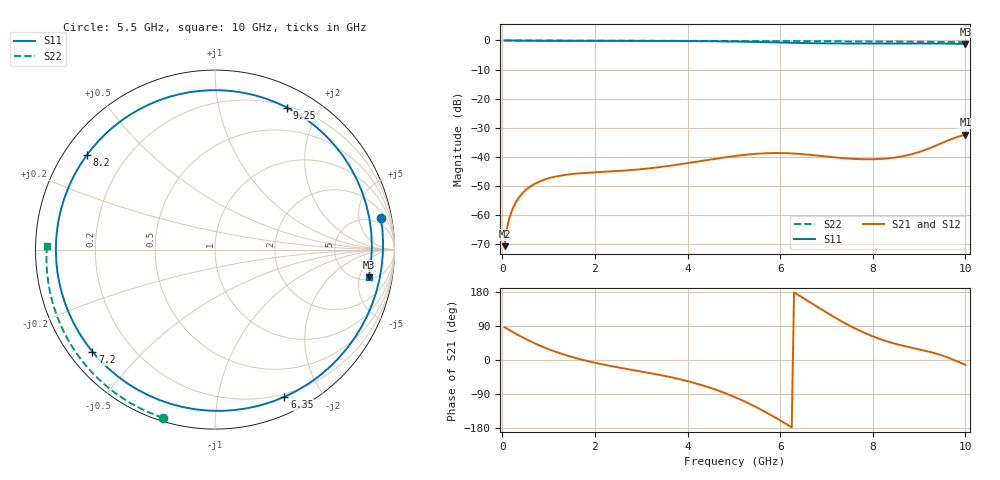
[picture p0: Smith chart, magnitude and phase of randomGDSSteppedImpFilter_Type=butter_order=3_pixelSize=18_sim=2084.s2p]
! freq	dB(S11)	phase(S11)	dB(S12)	phase(S12)
!  dB(S21)	phase(S21)	dB(S22)	phase(S22)
!S-par simulation data
#  GHz  S  DB  R 50
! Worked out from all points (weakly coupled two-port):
!   200 points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, 50 MHz to 10 GHz, reference 50 ohm
!   highest |S21| = -32.33 dB at 10 GHz (marker M1); lowest = -70.6 dB at 50 MHz (marker M2)
!   lowest |S11| = -1.2 dB at 10 GHz (marker M3), VSWR 14.43, Z = 275 - j348 ohm
!   |S11| at or under -10 dB: nowhere
!   |S22| runs from -0.6 to 0.0 dB; largest |S21 - S12| = 0
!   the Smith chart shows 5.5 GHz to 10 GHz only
!   S11 on the Smith chart (normalised r, x): 5.5 GHz: 3, +10; 6.35 GHz: 0.17, -1.56; 7.2 GHz: 0.07, -0.36; 8.2 GHz: 0.07, +0.33; 9.25 GHz: 0.22, +1.61; 10 GHz: 5.50, -6.96
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0.05  -0.00 -6.1  -70.59 86.3  -70.59 86.3  -0.00 -1.1
0.15  -0.02 -18.2  -61.11 79.2  -61.11 79.2  -0.00 -3.2
0.25  -0.04 -30.0  -56.82 72.2  -56.82 72.2  -0.01 -5.4
0.75  -0.09 -82.2  -48.79 41.3  -48.79 41.3  -0.02 -16.0
1.25  -0.11 -121.6  -46.40 17.6  -46.40 17.6  -0.03 -26.5
1.75  -0.11 -151.5  -45.50 -0.2  -45.50 -0.2  -0.05 -36.9
2.55  -0.13 170.3  -44.74 -20.6  -44.74 -20.6  -0.07 -53.0
3.4  -0.16 133.4  -43.46 -39.3  -43.46 -39.3  -0.09 -69.5
4.3  -0.24 90.1  -41.35 -66.0  -41.35 -66.0  -0.12 -86.1
5.05  -0.39 44.4  -39.59 -99.4  -39.59 -99.4  -0.15 -99.4
5.5  -0.53 10.6  -38.88 -125.4  -38.88 -125.4  -0.17 -107.1
5.9  -0.68 -23.5  -38.63 -152.2  -38.63 -152.2  -0.19 -113.9
6.35  -0.85 -64.8  -38.86 174.6  -38.86 174.6  -0.22 -121.3
6.7  -0.95 -96.9  -39.33 147.8  -39.33 147.8  -0.24 -127.1
7.2  -1.02 -140.2  -40.17 110.7  -40.17 110.7  -0.28 -135.2
7.7  -1.04 -179.5  -40.72 78.3  -40.72 78.3  -0.32 -143.3
8.2  -1.04 143.6  -40.63 53.4  -40.63 53.4  -0.37 -151.4
8.35  -1.04 132.7  -40.43 47.5  -40.43 47.5  -0.38 -153.8
8.8  -1.03 99.4  -39.20 33.5  -39.20 33.5  -0.43 -161.1
9.25  -1.04 63.1  -36.82 20.9  -36.82 20.9  -0.48 -168.5
9.65  -1.09 26.6  -34.15 5.2  -34.15 5.2  -0.52 -175.2
10  -1.21 -10.2  -32.33 -12.7  -32.33 -12.7  -0.57 178.8
